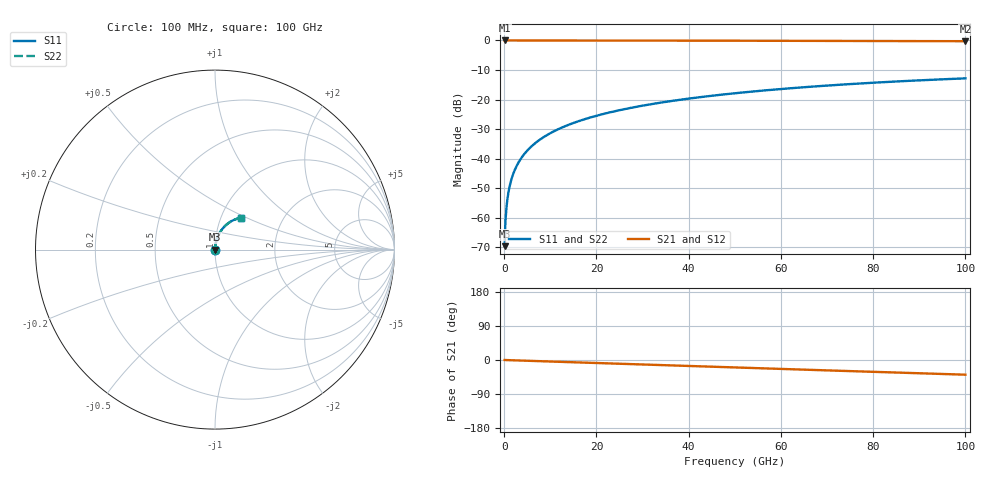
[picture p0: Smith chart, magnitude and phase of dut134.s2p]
! Touchstone file exported from HFSS 2026.1.0
!  File:  C:/ffzhzh/LocalFiles/Ansys_Project_Files/temp_train_TSV_134_1783506324_9504.aedt
!  Generated:  06:26:49 PM Jul  8, 2026
!  Design:  TSV
!  Project:  temp_train_TSV_134_1783506324_9504
! Variables:
!  h_bsmrdl = 2um
!  h_ox = 20um
!  h_rdl = 5um
!  h_sub = 66.64um
!  h_tmrdl = 5um
!  h_tsv = 66.64um
!  h_via = 3um
!  l_bsmrdl = 300um
!  l_sub = 417.18um
!  l_tmrdl = 200um
!  m_sub = 200um
!  pitch = 57.75um
!  r_tsv = 8.59um
!  s_tmrdl = 10um
!  w_bsmrdl = 18um
!  w_sub = 500um
!  w_tmrdl = 12um
!  x_tsv_center1 = 206um
!  x_tsv_center2 = 524um
!  x_tsv_center3 = 736um
!  x_tsv_center4 = 1054um
!  x_tsv_center5 = 1266um
!  x_tsv_center6 = 1584um
# GHz S MA R 50.000000
! Terminal data exported
! Port[1] = TSV1_1_T1
! Port[2] = TSV1_1_T2
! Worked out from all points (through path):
!   1000 points, 100 MHz to 100 GHz, reference 50 ohm
!   highest |S21| = 0.00 dB at 100 MHz (marker M1); lowest = -0.3 dB at 100 GHz (marker M2)
!   group delay of S21, straight-line fit = 1.08 ps
!   lowest |S11| = -69.6 dB at 100 MHz (marker M3), VSWR 1.00, Z = 50 + j0.0303 ohm
!   |S11| at or under -10 dB: start of sweep to end of sweep
!   |S22| runs from -69.6 to -12.8 dB; largest |S21 - S12| = 6.4e-15
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0.1  0.0003321 65.7  0.9999 -0.0  0.9999 -0.0  0.0003321 65.7
! Gamma 0 0 0 0
! Port Impedance 50 0 50 0
0.3  0.0009116 79.7  0.9998 -0.1  0.9998 -0.1  0.0009116 79.7
0.7  0.002049 83.5  0.9998 -0.3  0.9998 -0.3  0.002049 83.5
0.8  0.002328 83.8  0.9998 -0.3  0.9998 -0.3  0.002328 83.8
1  0.002883 84.4  0.9997 -0.4  0.9997 -0.4  0.002883 84.4
1.3  0.003711 84.9  0.9997 -0.5  0.9997 -0.5  0.003711 84.9
1.7  0.004809 85.3  0.9997 -0.7  0.9997 -0.7  0.004809 85.3
2.3  0.006444 85.6  0.9996 -0.9  0.9996 -0.9  0.006444 85.6
3  0.008337 85.7  0.9995 -1.2  0.9995 -1.2  0.008337 85.7
3.8  0.01049 85.7  0.9994 -1.5  0.9994 -1.5  0.01049 85.7
4.8  0.01317 85.6  0.9993 -1.9  0.9993 -1.9  0.01317 85.6
6  0.01637 85.3  0.9992 -2.4  0.9992 -2.4  0.01637 85.3
8.8  0.02382 84.6  0.9989 -3.5  0.9989 -3.5  0.02382 84.6
12.4  0.03334 83.4  0.9985 -4.9  0.9985 -4.9  0.03334 83.4
16.8  0.04489 81.9  0.9979 -6.7  0.9979 -6.7  0.04489 81.9
24.2  0.0641 79.2  0.9966 -9.6  0.9966 -9.6  0.0641 79.2
33.4  0.0875 75.8  0.9946 -13.2  0.9946 -13.2  0.0875 75.8
41.2  0.1068 72.8  0.9926 -16.3  0.9926 -16.3  0.1068 72.8
50.1  0.1282 69.5  0.9899 -19.7  0.9899 -19.7  0.1282 69.5
66.7  0.1656 63.2  0.9841 -26.1  0.9841 -26.1  0.1656 63.2
83.4  0.1994 56.9  0.9775 -32.5  0.9775 -32.5  0.1994 56.9
100  0.2285 50.7  0.9709 -38.8  0.9709 -38.8  0.2285 50.7
